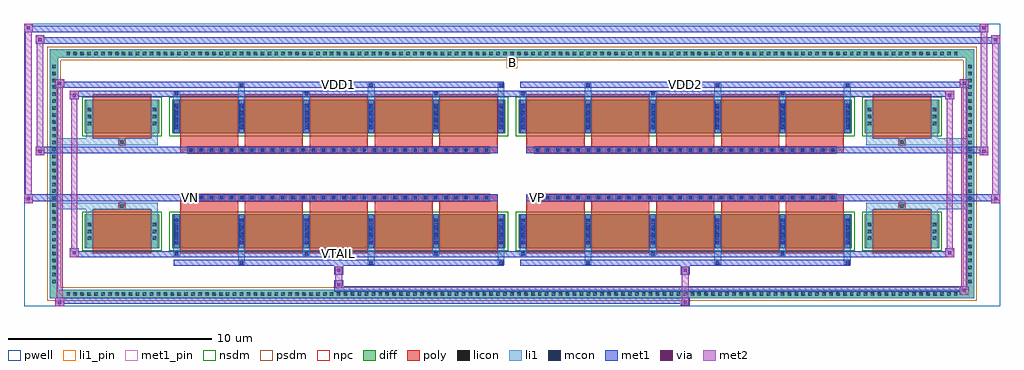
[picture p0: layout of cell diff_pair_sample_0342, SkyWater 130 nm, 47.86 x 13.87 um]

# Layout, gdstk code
import gdstk
lib = gdstk.Library(unit=1e-6, precision=5e-09)
def R(c, l, rs):  # rectangles x0, y0, x1, y1
    for r in rs: c.add(gdstk.rectangle(r[:2], r[2:], *l))
def A(c, l, x, y, w, h, nx, ny, dx, dy):  # array of equal rectangles
    R(c, l, [(x+i*dx, y+j*dy, x+i*dx+w, y+j*dy+h) for i in range(nx) for j in range(ny)])
def P(c, l, *ps):  # polygons
    for p in ps: c.add(gdstk.Polygon(p, *l))
pwell = (64, 44)
diff = (65, 20)
poly = (66, 20)
licon = (66, 44)
li1_pin = (67, 16)
li1 = (67, 20)
mcon = (67, 44)
met1_pin = (68, 16)
met1 = (68, 20)
via = (68, 44)
met2 = (69, 20)
nsdm = (93, 44)
psdm = (94, 20)
npc = (95, 20)

diff_pair_sample_0342 = lib.new_cell('diff_pair_sample_0342')
R(diff_pair_sample_0342, pwell, [(-23.93,-6.5,23.93,7.37), (-21.25,-4.69,-0.01,-0.805), (0.01,-4.69,21.25,-0.805), (-21.25,0.805,-0.01,4.69), (0.01,0.805,21.25,4.69)])
A(diff_pair_sample_0342, diff, -21.965, -6.1, 0.41, 0.41, 129, 2, 0.34, 11.79)
A(diff_pair_sample_0342, diff, -22.66, -5.475, 0.41, 0.41, 1, 32, 0, 0.34)
A(diff_pair_sample_0342, diff, 22.25, -5.475, 0.41, 0.41, 1, 32, 0, 0.34)
R(diff_pair_sample_0342, diff, [(-21.965,-6.1,21.965,-5.69), (-22.66,-5.475,-22.25,5.475), (22.25,-5.475,22.66,5.475), (-20.94,-3.645,-17.31,-1.985), (-16.67,-3.645,-0.32,-1.985), (0.32,-3.645,16.67,-1.985), (17.31,-3.645,20.94,-1.985), (-20.94,1.985,-17.31,3.645), (-16.67,1.985,-0.32,3.645), (0.32,1.985,16.67,3.645), (17.31,1.985,20.94,3.645), (-21.965,5.69,21.965,6.1)])
P(diff_pair_sample_0342, diff, [(22.66,6.1),(-22.66,6.1),(-22.66,-5.69),(-22.25,-5.69),(-22.25,5.69),(22.25,5.69),(22.25,-5.69),(-22.25,-5.69),(-22.66,-5.69),(-22.66,-6.1),(22.66,-6.1)])
A(diff_pair_sample_0342, poly, -16.28, -3.895, 2.85, 2.16, 5, 2, 3.18, 5.63)
A(diff_pair_sample_0342, poly, 0.71, -3.895, 2.85, 2.16, 5, 2, 3.18, 5.63)
A(diff_pair_sample_0342, poly, -16.28, -1.735, 2.85, 0.4, 5, 2, 3.18, 3.07)
A(diff_pair_sample_0342, poly, 0.71, -1.735, 2.85, 0.4, 5, 2, 3.18, 3.07)
A(diff_pair_sample_0342, poly, -15.91, -1.335, 0.33, 0.33, 30, 2, 0.5, 2.34)
A(diff_pair_sample_0342, poly, 1.08, -1.335, 0.33, 0.33, 30, 2, 0.5, 2.34)
R(diff_pair_sample_0342, poly, [(-20.55,-3.895,-17.7,-1.735), (17.7,-3.895,20.55,-1.735), (-19.29,-1.735,-18.96,-1.405), (-19.29,-1.735,-18.96,-1.405), (18.96,-1.735,19.29,-1.405), (18.96,-1.735,19.29,-1.405), (-16.28,-1.335,-0.71,-1.005), (0.71,-1.335,16.28,-1.005), (-16.28,1.005,-0.71,1.335), (0.71,1.005,16.28,1.335), (-19.29,1.405,-18.96,1.735), (-19.29,1.405,-18.96,1.735), (18.96,1.405,19.29,1.735), (18.96,1.405,19.29,1.735), (-20.55,1.735,-17.7,3.895), (17.7,1.735,20.55,3.895)])
A(diff_pair_sample_0342, licon, -21.845, -5.98, 0.17, 0.17, 129, 2, 0.34, 11.79)
A(diff_pair_sample_0342, licon, -22.54, -5.355, 0.17, 0.17, 1, 32, 0, 0.34)
A(diff_pair_sample_0342, licon, 22.37, -5.355, 0.17, 0.17, 1, 32, 0, 0.34)
A(diff_pair_sample_0342, licon, -20.8, -3.24, 0.17, 0.17, 1, 3, 0, 0.34)
A(diff_pair_sample_0342, licon, -17.62, -3.24, 0.17, 0.17, 1, 3, 0, 0.34)
A(diff_pair_sample_0342, licon, -16.53, -3.24, 0.17, 0.17, 6, 3, 3.18, 0.34)
A(diff_pair_sample_0342, licon, 0.46, -3.24, 0.17, 0.17, 6, 3, 3.18, 0.34)
A(diff_pair_sample_0342, licon, 17.45, -3.24, 0.17, 0.17, 1, 3, 0, 0.34)
A(diff_pair_sample_0342, licon, 20.63, -3.24, 0.17, 0.17, 1, 3, 0, 0.34)
A(diff_pair_sample_0342, licon, -15.83, -1.255, 0.17, 0.17, 30, 2, 0.5, 2.34)
A(diff_pair_sample_0342, licon, 1.16, -1.255, 0.17, 0.17, 30, 2, 0.5, 2.34)
A(diff_pair_sample_0342, licon, -20.8, 2.39, 0.17, 0.17, 1, 3, 0, 0.34)
A(diff_pair_sample_0342, licon, -17.62, 2.39, 0.17, 0.17, 1, 3, 0, 0.34)
A(diff_pair_sample_0342, licon, -16.53, 2.39, 0.17, 0.17, 6, 3, 3.18, 0.34)
A(diff_pair_sample_0342, licon, 0.46, 2.39, 0.17, 0.17, 6, 3, 3.18, 0.34)
A(diff_pair_sample_0342, licon, 17.45, 2.39, 0.17, 0.17, 1, 3, 0, 0.34)
A(diff_pair_sample_0342, licon, 20.63, 2.39, 0.17, 0.17, 1, 3, 0, 0.34)
R(diff_pair_sample_0342, licon, [(-19.21,-1.655,-19.04,-1.485), (19.04,-1.655,19.21,-1.485), (-19.21,1.485,-19.04,1.655), (19.04,1.485,19.21,1.655)])
R(diff_pair_sample_0342, li1_pin, [(-0.25,5.19,0.25,5.69)])
A(diff_pair_sample_0342, li1, -21.925, -6.06, 0.33, 0.33, 129, 2, 0.34, 11.79)
A(diff_pair_sample_0342, li1, -22.62, -5.435, 0.33, 0.33, 1, 32, 0, 0.34)
A(diff_pair_sample_0342, li1, 22.29, -5.435, 0.33, 0.33, 1, 32, 0, 0.34)
A(diff_pair_sample_0342, li1, -13.43, -4.45, 0.33, 0.805, 3, 2, 6.36, 8.095)
A(diff_pair_sample_0342, li1, -13.35, -4.45, 0.17, 0.17, 3, 2, 6.36, 8.73)
A(diff_pair_sample_0342, li1, 3.56, -4.45, 0.33, 0.805, 3, 2, 6.36, 8.095)
A(diff_pair_sample_0342, li1, 3.64, -4.45, 0.17, 0.17, 3, 2, 6.36, 8.73)
A(diff_pair_sample_0342, li1, -16.61, -4.02, 0.33, 0.375, 3, 2, 6.36, 7.665)
A(diff_pair_sample_0342, li1, -16.53, -4.02, 0.17, 0.17, 3, 2, 6.36, 7.87)
A(diff_pair_sample_0342, li1, 0.38, -4.02, 0.33, 0.375, 3, 2, 6.36, 7.665)
A(diff_pair_sample_0342, li1, 0.46, -4.02, 0.17, 0.17, 3, 2, 6.36, 7.87)
A(diff_pair_sample_0342, li1, -16.61, -3.645, 0.33, 1.66, 6, 2, 3.18, 5.63)
A(diff_pair_sample_0342, li1, 0.38, -3.645, 0.33, 1.66, 6, 2, 3.18, 5.63)
A(diff_pair_sample_0342, li1, -16.53, -3.44, 0.17, 0.17, 6, 4, 3.18, 0.36)
A(diff_pair_sample_0342, li1, -16.53, -3.44, 0.17, 1.25, 6, 2, 3.18, 5.63)
A(diff_pair_sample_0342, li1, 0.46, -3.44, 0.17, 0.17, 6, 4, 3.18, 0.36)
A(diff_pair_sample_0342, li1, 0.46, -3.44, 0.17, 1.25, 6, 2, 3.18, 5.63)
A(diff_pair_sample_0342, li1, -20.88, -3.32, 0.33, 0.33, 1, 3, 0, 0.34)
A(diff_pair_sample_0342, li1, -17.7, -3.32, 0.33, 0.33, 1, 3, 0, 0.34)
A(diff_pair_sample_0342, li1, -16.61, -3.32, 0.33, 0.33, 6, 3, 3.18, 0.34)
A(diff_pair_sample_0342, li1, 0.38, -3.32, 0.33, 0.33, 6, 3, 3.18, 0.34)
A(diff_pair_sample_0342, li1, 17.37, -3.32, 0.33, 0.33, 1, 3, 0, 0.34)
A(diff_pair_sample_0342, li1, 20.55, -3.32, 0.33, 0.33, 1, 3, 0, 0.34)
A(diff_pair_sample_0342, li1, -15.91, -1.335, 0.33, 0.33, 30, 2, 0.5, 2.34)
A(diff_pair_sample_0342, li1, 1.08, -1.335, 0.33, 0.33, 30, 2, 0.5, 2.34)
A(diff_pair_sample_0342, li1, -16.53, 2.19, 0.17, 0.17, 6, 4, 3.18, 0.36)
A(diff_pair_sample_0342, li1, 0.46, 2.19, 0.17, 0.17, 6, 4, 3.18, 0.36)
A(diff_pair_sample_0342, li1, -20.88, 2.31, 0.33, 0.33, 1, 3, 0, 0.34)
A(diff_pair_sample_0342, li1, -17.7, 2.31, 0.33, 0.33, 1, 3, 0, 0.34)
A(diff_pair_sample_0342, li1, -16.61, 2.31, 0.33, 0.33, 6, 3, 3.18, 0.34)
A(diff_pair_sample_0342, li1, 0.38, 2.31, 0.33, 0.33, 6, 3, 3.18, 0.34)
A(diff_pair_sample_0342, li1, 17.37, 2.31, 0.33, 0.33, 1, 3, 0, 0.34)
A(diff_pair_sample_0342, li1, 20.55, 2.31, 0.33, 0.33, 1, 3, 0, 0.34)
R(diff_pair_sample_0342, li1, [(-22.66,-6.1,-22.25,-5.69), (-22.66,-6.1,-22.25,-5.69), (-22.25,-6.1,22.25,-5.69), (22.25,-6.1,22.66,-5.69), (22.25,-6.1,22.66,-5.69), (-22.66,-5.69,-22.25,5.69), (22.25,-5.69,22.66,5.69), (-20.88,-3.645,-20.55,-1.985), (-17.7,-3.645,-17.37,-1.985), (17.37,-3.645,17.7,-1.985), (20.55,-3.645,20.88,-1.985), (-20.88,-1.985,-20.55,-1.405), (-17.7,-1.985,-17.37,-1.405), (17.37,-1.985,17.7,-1.405), (20.55,-1.985,20.88,-1.405), (-22.66,-1.735,-19.29,-1.405), (-20.88,-1.735,-19.29,-1.405), (-19.29,-1.735,-18.96,-1.405), (-18.96,-1.735,-17.37,-1.405), (17.37,-1.735,18.96,-1.405), (18.96,-1.735,19.29,-1.405), (18.96,-1.735,22.66,-1.405), (19.29,-1.735,20.88,-1.405), (-22.66,1.405,-19.29,1.735), (-20.88,1.405,-19.29,1.735), (-20.88,1.405,-20.55,1.985), (-19.29,1.405,-18.96,1.735), (-18.96,1.405,-17.37,1.735), (-17.7,1.405,-17.37,1.985), (17.37,1.405,18.96,1.735), (17.37,1.405,17.7,1.985), (18.96,1.405,19.29,1.735), (18.96,1.405,22.66,1.735), (19.29,1.405,20.88,1.735), (20.55,1.405,20.88,1.985), (-20.88,1.985,-20.55,3.645), (-17.7,1.985,-17.37,3.645), (17.37,1.985,17.7,3.645), (20.55,1.985,20.88,3.645), (-22.66,5.69,-22.25,6.1), (-22.66,5.69,-22.25,6.1), (-22.25,5.69,22.25,6.1), (22.25,5.69,22.66,6.1), (22.25,5.69,22.66,6.1)])
A(diff_pair_sample_0342, mcon, -13.35, -4.45, 0.17, 0.17, 3, 2, 6.36, 8.73)
A(diff_pair_sample_0342, mcon, 3.64, -4.45, 0.17, 0.17, 3, 2, 6.36, 8.73)
A(diff_pair_sample_0342, mcon, -16.53, -4.02, 0.17, 0.17, 3, 2, 6.36, 7.87)
A(diff_pair_sample_0342, mcon, 0.46, -4.02, 0.17, 0.17, 3, 2, 6.36, 7.87)
A(diff_pair_sample_0342, mcon, -16.53, -3.44, 0.17, 0.17, 6, 4, 3.18, 0.36)
A(diff_pair_sample_0342, mcon, 0.46, -3.44, 0.17, 0.17, 6, 4, 3.18, 0.36)
A(diff_pair_sample_0342, mcon, -15.83, -1.255, 0.17, 0.17, 30, 2, 0.5, 2.34)
A(diff_pair_sample_0342, mcon, 1.16, -1.255, 0.17, 0.17, 30, 2, 0.5, 2.34)
A(diff_pair_sample_0342, mcon, -16.53, 2.19, 0.17, 0.17, 6, 4, 3.18, 0.36)
A(diff_pair_sample_0342, mcon, 0.46, 2.19, 0.17, 0.17, 6, 4, 3.18, 0.36)
R(diff_pair_sample_0342, met1_pin, [(-8.63,-4.06,-8.36,-3.79), (-15.88,-1.295,-15.61,-1.025), (1.11,-1.295,1.38,-1.025), (-8.63,4.24,-8.36,4.51), (8.36,4.24,8.63,4.51)])
A(diff_pair_sample_0342, met1, -13.41, -4.51, 0.29, 0.29, 3, 2, 6.36, 8.73)
A(diff_pair_sample_0342, met1, 3.58, -4.51, 0.29, 0.29, 3, 2, 6.36, 8.73)
A(diff_pair_sample_0342, met1, -16.59, -4.08, 0.29, 0.29, 3, 2, 6.36, 7.87)
A(diff_pair_sample_0342, met1, 0.4, -4.08, 0.29, 0.29, 3, 2, 6.36, 7.87)
A(diff_pair_sample_0342, met1, -16.59, -3.645, 0.29, 1.66, 6, 2, 3.18, 5.63)
A(diff_pair_sample_0342, met1, 0.4, -3.645, 0.29, 1.66, 6, 2, 3.18, 5.63)
A(diff_pair_sample_0342, met1, -16.59, -3.5, 0.29, 0.29, 6, 4, 3.18, 0.36)
A(diff_pair_sample_0342, met1, 0.4, -3.5, 0.29, 0.29, 6, 4, 3.18, 0.36)
A(diff_pair_sample_0342, met1, -15.89, -1.315, 0.29, 0.29, 30, 2, 0.5, 2.34)
A(diff_pair_sample_0342, met1, 1.1, -1.315, 0.29, 0.29, 30, 2, 0.5, 2.34)
A(diff_pair_sample_0342, met1, -16.59, 2.13, 0.29, 0.29, 6, 4, 3.18, 0.36)
A(diff_pair_sample_0342, met1, 0.4, 2.13, 0.29, 0.29, 6, 4, 3.18, 0.36)
R(diff_pair_sample_0342, met1, [(-22.39,-6.5,-21.96,-6.07), (8.28,-6.5,8.71,-6.07), (-22.39,-6.36,8.71,-6.07), (21.96,-5.93,22.39,-5.5), (-8.71,-5.79,22.39,-5.5), (-8.71,-5.65,-8.28,-5.22), (-8.71,-4.94,-8.28,-4.51), (8.28,-4.94,8.71,-4.51), (-16.59,-4.51,-0.4,-4.22), (0.4,-4.51,16.59,-4.22), (-21.68,-4.08,-21.25,-3.65), (-21.68,-4.08,-16.59,-3.79), (-16.59,-4.08,-0.4,-3.79), (-0.4,-4.08,0.4,-3.79), (0.4,-4.08,16.59,-3.79), (16.59,-4.08,21.68,-3.79), (21.25,-4.08,21.68,-3.65), (-23.93,-1.435,-23.5,-1.005), (23.5,-1.435,23.93,-1.005), (-23.93,-1.335,-0.71,-1.005), (-16.28,-1.335,-0.71,-1.005), (0.71,-1.335,16.28,-1.005), (0.71,-1.335,23.93,-1.005), (-23.36,0.905,-22.93,1.335), (22.93,0.905,23.36,1.335), (-23.36,1.005,-16.28,1.335), (-16.28,1.005,-0.71,1.335), (0.71,1.005,16.28,1.335), (16.28,1.005,23.36,1.335), (-21.68,3.65,-21.25,4.08), (21.25,3.65,21.68,4.08), (-21.68,3.79,-16.59,4.08), (-16.59,3.79,-0.4,4.08), (-0.4,3.79,0.4,4.08), (0.4,3.79,16.59,4.08), (16.59,3.79,21.68,4.08), (-22.39,4.22,-21.96,4.65), (-22.39,4.22,-16.59,4.51), (-16.59,4.22,-0.4,4.51), (0.4,4.22,16.59,4.51), (16.59,4.22,22.39,4.51), (21.96,4.22,22.39,4.65), (-23.36,6.37,-22.93,6.8), (-23.36,6.37,-21.25,6.7), (-21.25,6.37,21.25,6.7), (21.25,6.37,23.93,6.7), (23.5,6.37,23.93,6.8), (-23.93,6.94,-23.5,7.37), (-23.93,6.94,-21.25,7.27), (-21.25,6.94,21.25,7.27), (21.25,6.94,23.36,7.27), (22.93,6.94,23.36,7.37)])
R(diff_pair_sample_0342, via, [(-22.25,-6.36,-22.1,-6.21), (8.42,-6.36,8.57,-6.21), (22.1,-5.79,22.25,-5.64), (-8.57,-5.51,-8.42,-5.36), (-8.57,-4.8,-8.42,-4.65), (8.42,-4.8,8.57,-4.65), (-21.54,-3.94,-21.39,-3.79), (21.39,-3.94,21.54,-3.79), (-23.79,-1.295,-23.64,-1.145), (23.64,-1.295,23.79,-1.145), (-23.22,1.045,-23.07,1.195), (23.07,1.045,23.22,1.195), (-21.54,3.79,-21.39,3.94), (21.39,3.79,21.54,3.94), (-22.25,4.36,-22.1,4.51), (22.1,4.36,22.25,4.51), (-23.22,6.51,-23.07,6.66), (23.64,6.51,23.79,6.66), (-23.79,7.08,-23.64,7.23), (23.07,7.08,23.22,7.23)])
R(diff_pair_sample_0342, met2, [(-22.39,-6.5,-21.96,-6.07), (-22.32,-6.5,-22.03,4.65), (-22.03,-6.5,-21.96,-6.07), (-22.34,-6.45,-22.01,-6.12), (8.33,-6.45,8.66,-6.12), (8.33,-6.12,8.66,-4.89), (21.96,-5.93,22.39,-5.5), (22.03,-5.93,22.32,4.65), (22.32,-5.93,22.39,-5.5), (22.01,-5.88,22.34,-5.55), (-8.66,-5.6,-8.33,-5.27), (-8.66,-5.27,-8.33,-4.89), (-8.66,-4.89,-8.33,-4.56), (8.33,-4.89,8.66,-4.56), (-21.68,-4.08,-21.25,-3.65), (-21.61,-4.08,-21.32,4.08), (-21.32,-4.08,-21.25,-3.65), (21.25,-4.08,21.68,-3.65), (21.32,-4.08,21.61,4.08), (21.61,-4.08,21.68,-3.65), (-21.63,-4.03,-21.3,-3.7), (21.3,-4.03,21.63,-3.7), (-23.93,-1.435,-23.5,-1.005), (-23.88,-1.435,-23.55,7.37), (-23.55,-1.435,-23.5,-1.005), (23.5,-1.435,23.93,-1.005), (23.55,-1.435,23.88,6.8), (23.88,-1.435,23.93,-1.005), (-23.88,-1.385,-23.55,-1.055), (23.55,-1.385,23.88,-1.055), (-23.36,0.905,-22.93,1.335), (-23.31,0.905,-22.98,6.8), (-22.98,0.905,-22.93,1.335), (22.93,0.905,23.36,1.335), (22.98,0.905,23.31,7.37), (23.31,0.905,23.36,1.335), (-23.31,0.955,-22.98,1.285), (22.98,0.955,23.31,1.285), (-21.68,3.65,-21.25,4.08), (-21.32,3.65,-21.25,4.08), (21.25,3.65,21.68,4.08), (21.61,3.65,21.68,4.08), (-21.63,3.7,-21.3,4.03), (21.3,3.7,21.63,4.03), (-22.39,4.22,-21.96,4.65), (-22.03,4.22,-21.96,4.65), (21.96,4.22,22.39,4.65), (22.32,4.22,22.39,4.65), (-22.34,4.27,-22.01,4.6), (22.01,4.27,22.34,4.6), (-23.36,6.37,-22.93,6.8), (-22.98,6.37,-22.93,6.8), (23.5,6.37,23.93,6.8), (23.88,6.37,23.93,6.8), (-23.31,6.42,-22.98,6.75), (23.55,6.42,23.88,6.75), (-23.93,6.94,-23.5,7.37), (-23.55,6.94,-23.5,7.37), (22.93,6.94,23.36,7.37), (23.31,6.94,23.36,7.37), (-23.88,6.99,-23.55,7.32), (22.98,6.99,23.31,7.32)])
R(diff_pair_sample_0342, nsdm, [(-21.07,-3.775,-17.18,-1.855), (-16.8,-3.775,-0.19,-1.855), (0.19,-3.775,16.8,-1.855), (17.18,-3.775,21.07,-1.855), (-21.07,1.855,-17.18,3.775), (-16.8,1.855,-0.19,3.775), (0.19,1.855,16.8,3.775), (17.18,1.855,21.07,3.775)])
P(diff_pair_sample_0342, psdm, [(22.79,6.23),(-22.79,6.23),(-22.79,-5.56),(-22.12,-5.56),(-22.12,5.56),(22.12,5.56),(22.12,-5.56),(-22.12,-5.56),(-22.79,-5.56),(-22.79,-6.23),(22.79,-6.23)])
A(diff_pair_sample_0342, npc, -15.93, -1.355, 0.37, 0.37, 30, 2, 0.5, 2.34)
A(diff_pair_sample_0342, npc, 1.06, -1.355, 0.37, 0.37, 30, 2, 0.5, 2.34)
R(diff_pair_sample_0342, npc, [(-19.31,-1.755,-18.94,-1.385), (18.94,-1.755,19.31,-1.385), (-15.93,-1.355,-15.06,-0.985), (-15.93,-1.355,-15.06,-0.985), (-15.43,-1.355,-14.56,-0.985), (-15.43,-1.355,-14.56,-0.985), (-14.93,-1.355,-14.06,-0.985), (-14.93,-1.355,-14.06,-0.985), (-14.43,-1.355,-13.56,-0.985), (-14.43,-1.355,-13.56,-0.985), (-13.93,-1.355,-13.06,-0.985), (-13.93,-1.355,-13.06,-0.985), (-13.43,-1.355,-12.56,-0.985), (-13.43,-1.355,-12.56,-0.985), (-12.93,-1.355,-12.06,-0.985), (-12.93,-1.355,-12.06,-0.985), (-12.43,-1.355,-11.56,-0.985), (-12.43,-1.355,-11.56,-0.985), (-11.93,-1.355,-11.06,-0.985), (-11.93,-1.355,-11.06,-0.985), (-11.43,-1.355,-10.56,-0.985), (-11.43,-1.355,-10.56,-0.985), (-10.93,-1.355,-10.06,-0.985), (-10.93,-1.355,-10.06,-0.985), (-10.43,-1.355,-9.56,-0.985), (-10.43,-1.355,-9.56,-0.985), (-9.93,-1.355,-9.06,-0.985), (-9.93,-1.355,-9.06,-0.985), (-9.43,-1.355,-8.56,-0.985), (-9.43,-1.355,-8.56,-0.985), (-8.93,-1.355,-8.06,-0.985), (-8.93,-1.355,-8.06,-0.985), (-8.43,-1.355,-7.56,-0.985), (-8.43,-1.355,-7.56,-0.985), (-7.93,-1.355,-7.06,-0.985), (-7.93,-1.355,-7.06,-0.985), (-7.43,-1.355,-6.56,-0.985), (-7.43,-1.355,-6.56,-0.985), (-6.93,-1.355,-6.06,-0.985), (-6.93,-1.355,-6.06,-0.985), (-6.43,-1.355,-5.56,-0.985), (-6.43,-1.355,-5.56,-0.985), (-5.93,-1.355,-5.06,-0.985), (-5.93,-1.355,-5.06,-0.985), (-5.43,-1.355,-4.56,-0.985), (-5.43,-1.355,-4.56,-0.985), (-4.93,-1.355,-4.06,-0.985), (-4.93,-1.355,-4.06,-0.985), (-4.43,-1.355,-3.56,-0.985), (-4.43,-1.355,-3.56,-0.985), (-3.93,-1.355,-3.06,-0.985), (-3.93,-1.355,-3.06,-0.985), (-3.43,-1.355,-2.56,-0.985), (-3.43,-1.355,-2.56,-0.985), (-2.93,-1.355,-2.06,-0.985), (-2.93,-1.355,-2.06,-0.985), (-2.43,-1.355,-1.56,-0.985), (-2.43,-1.355,-1.56,-0.985), (-1.93,-1.355,-1.06,-0.985), (-1.93,-1.355,-1.06,-0.985), (1.06,-1.355,1.93,-0.985), (1.06,-1.355,1.93,-0.985), (1.56,-1.355,2.43,-0.985), (1.56,-1.355,2.43,-0.985), (2.06,-1.355,2.93,-0.985), (2.06,-1.355,2.93,-0.985), (2.56,-1.355,3.43,-0.985), (2.56,-1.355,3.43,-0.985), (3.06,-1.355,3.93,-0.985), (3.06,-1.355,3.93,-0.985), (3.56,-1.355,4.43,-0.985), (3.56,-1.355,4.43,-0.985), (4.06,-1.355,4.93,-0.985), (4.06,-1.355,4.93,-0.985), (4.56,-1.355,5.43,-0.985), (4.56,-1.355,5.43,-0.985), (5.06,-1.355,5.93,-0.985), (5.06,-1.355,5.93,-0.985), (5.56,-1.355,6.43,-0.985), (5.56,-1.355,6.43,-0.985), (6.06,-1.355,6.93,-0.985), (6.06,-1.355,6.93,-0.985), (6.56,-1.355,7.43,-0.985), (6.56,-1.355,7.43,-0.985), (7.06,-1.355,7.93,-0.985), (7.06,-1.355,7.93,-0.985), (7.56,-1.355,8.43,-0.985), (7.56,-1.355,8.43,-0.985), (8.06,-1.355,8.93,-0.985), (8.06,-1.355,8.93,-0.985), (8.56,-1.355,9.43,-0.985), (8.56,-1.355,9.43,-0.985), (9.06,-1.355,9.93,-0.985), (9.06,-1.355,9.93,-0.985), (9.56,-1.355,10.43,-0.985), (9.56,-1.355,10.43,-0.985), (10.06,-1.355,10.93,-0.985), (10.06,-1.355,10.93,-0.985), (10.56,-1.355,11.43,-0.985), (10.56,-1.355,11.43,-0.985), (11.06,-1.355,11.93,-0.985), (11.06,-1.355,11.93,-0.985), (11.56,-1.355,12.43,-0.985), (11.56,-1.355,12.43,-0.985), (12.06,-1.355,12.93,-0.985), (12.06,-1.355,12.93,-0.985), (12.56,-1.355,13.43,-0.985), (12.56,-1.355,13.43,-0.985), (13.06,-1.355,13.93,-0.985), (13.06,-1.355,13.93,-0.985), (13.56,-1.355,14.43,-0.985), (13.56,-1.355,14.43,-0.985), (14.06,-1.355,14.93,-0.985), (14.06,-1.355,14.93,-0.985), (14.56,-1.355,15.43,-0.985), (14.56,-1.355,15.43,-0.985), (15.06,-1.355,15.93,-0.985), (15.06,-1.355,15.93,-0.985), (-15.93,0.985,-15.06,1.355), (-15.93,0.985,-15.06,1.355), (-15.43,0.985,-14.56,1.355), (-15.43,0.985,-14.56,1.355), (-14.93,0.985,-14.06,1.355), (-14.93,0.985,-14.06,1.355), (-14.43,0.985,-13.56,1.355), (-14.43,0.985,-13.56,1.355), (-13.93,0.985,-13.06,1.355), (-13.93,0.985,-13.06,1.355), (-13.43,0.985,-12.56,1.355), (-13.43,0.985,-12.56,1.355), (-12.93,0.985,-12.06,1.355), (-12.93,0.985,-12.06,1.355), (-12.43,0.985,-11.56,1.355), (-12.43,0.985,-11.56,1.355), (-11.93,0.985,-11.06,1.355), (-11.93,0.985,-11.06,1.355), (-11.43,0.985,-10.56,1.355), (-11.43,0.985,-10.56,1.355), (-10.93,0.985,-10.06,1.355), (-10.93,0.985,-10.06,1.355), (-10.43,0.985,-9.56,1.355), (-10.43,0.985,-9.56,1.355), (-9.93,0.985,-9.06,1.355), (-9.93,0.985,-9.06,1.355), (-9.43,0.985,-8.56,1.355), (-9.43,0.985,-8.56,1.355), (-8.93,0.985,-8.06,1.355), (-8.93,0.985,-8.06,1.355), (-8.43,0.985,-7.56,1.355), (-8.43,0.985,-7.56,1.355), (-7.93,0.985,-7.06,1.355), (-7.93,0.985,-7.06,1.355), (-7.43,0.985,-6.56,1.355), (-7.43,0.985,-6.56,1.355), (-6.93,0.985,-6.06,1.355), (-6.93,0.985,-6.06,1.355), (-6.43,0.985,-5.56,1.355), (-6.43,0.985,-5.56,1.355), (-5.93,0.985,-5.06,1.355), (-5.93,0.985,-5.06,1.355), (-5.43,0.985,-4.56,1.355), (-5.43,0.985,-4.56,1.355), (-4.93,0.985,-4.06,1.355), (-4.93,0.985,-4.06,1.355), (-4.43,0.985,-3.56,1.355), (-4.43,0.985,-3.56,1.355), (-3.93,0.985,-3.06,1.355), (-3.93,0.985,-3.06,1.355), (-3.43,0.985,-2.56,1.355), (-3.43,0.985,-2.56,1.355), (-2.93,0.985,-2.06,1.355), (-2.93,0.985,-2.06,1.355), (-2.43,0.985,-1.56,1.355), (-2.43,0.985,-1.56,1.355), (-1.93,0.985,-1.06,1.355), (-1.93,0.985,-1.06,1.355), (1.06,0.985,1.93,1.355), (1.06,0.985,1.93,1.355), (1.56,0.985,2.43,1.355), (1.56,0.985,2.43,1.355), (2.06,0.985,2.93,1.355), (2.06,0.985,2.93,1.355), (2.56,0.985,3.43,1.355), (2.56,0.985,3.43,1.355), (3.06,0.985,3.93,1.355), (3.06,0.985,3.93,1.355), (3.56,0.985,4.43,1.355), (3.56,0.985,4.43,1.355), (4.06,0.985,4.93,1.355), (4.06,0.985,4.93,1.355), (4.56,0.985,5.43,1.355), (4.56,0.985,5.43,1.355), (5.06,0.985,5.93,1.355), (5.06,0.985,5.93,1.355), (5.56,0.985,6.43,1.355), (5.56,0.985,6.43,1.355), (6.06,0.985,6.93,1.355), (6.06,0.985,6.93,1.355), (6.56,0.985,7.43,1.355), (6.56,0.985,7.43,1.355), (7.06,0.985,7.93,1.355), (7.06,0.985,7.93,1.355), (7.56,0.985,8.43,1.355), (7.56,0.985,8.43,1.355), (8.06,0.985,8.93,1.355), (8.06,0.985,8.93,1.355), (8.56,0.985,9.43,1.355), (8.56,0.985,9.43,1.355), (9.06,0.985,9.93,1.355), (9.06,0.985,9.93,1.355), (9.56,0.985,10.43,1.355), (9.56,0.985,10.43,1.355), (10.06,0.985,10.93,1.355), (10.06,0.985,10.93,1.355), (10.56,0.985,11.43,1.355), (10.56,0.985,11.43,1.355), (11.06,0.985,11.93,1.355), (11.06,0.985,11.93,1.355), (11.56,0.985,12.43,1.355), (11.56,0.985,12.43,1.355), (12.06,0.985,12.93,1.355), (12.06,0.985,12.93,1.355), (12.56,0.985,13.43,1.355), (12.56,0.985,13.43,1.355), (13.06,0.985,13.93,1.355), (13.06,0.985,13.93,1.355), (13.56,0.985,14.43,1.355), (13.56,0.985,14.43,1.355), (14.06,0.985,14.93,1.355), (14.06,0.985,14.93,1.355), (14.56,0.985,15.43,1.355), (14.56,0.985,15.43,1.355), (15.06,0.985,15.93,1.355), (15.06,0.985,15.93,1.355), (-19.31,1.385,-18.94,1.755), (18.94,1.385,19.31,1.755)])
diff_pair_sample_0342.add(gdstk.Label('VTAIL', (-8.495,-3.925), layer=68, texttype=5))
diff_pair_sample_0342.add(gdstk.Label('VN', (-15.745,-1.16), layer=68, texttype=5))
diff_pair_sample_0342.add(gdstk.Label('VP', (1.245,-1.16), layer=68, texttype=5))
diff_pair_sample_0342.add(gdstk.Label('B', (0,5.44), layer=67, texttype=5))
diff_pair_sample_0342.add(gdstk.Label('VDD2', (8.495,4.375), layer=68, texttype=5))
diff_pair_sample_0342.add(gdstk.Label('VDD1', (-8.495,4.375), layer=68, texttype=5))

lib.write_gds('diff_pair_sample_0342.gds')
